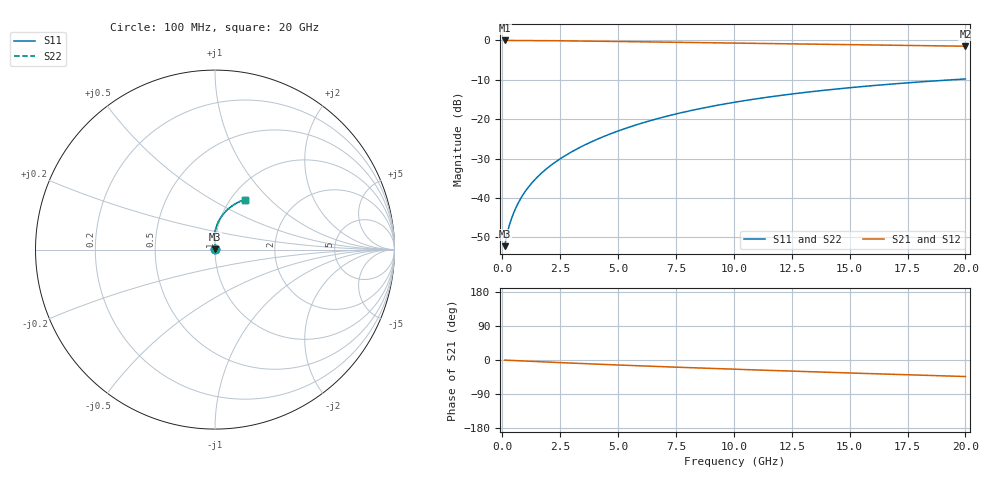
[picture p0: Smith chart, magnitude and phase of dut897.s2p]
! Touchstone file exported from HFSS 2024.1.0
!  File:  C:/UserFiles/LocalFiles/RDL_TSV_Batchsim/temp_RDL_bottom_897_1779866178.aedt
!  Generated:  03:18:48 PM May 27, 2026
!  Design:  RDL_bottom
!  Project:  temp_RDL_bottom_897_1779866178
!  Setup:  Setup1
!  Solution:  Sweep
! Variables:
!  dtsv = 10.80580581um
!  hbump = 3um
!  htsv = 54.43um
!  ldown = 670.26um
!  lrdl = 100um
!  p = 40
!  p1 = 53.12um
!  rhole = 1um
!  t = 450um
!  tdown = 4.73um
!  trdl = 3.915915916um
!  wdown = 28.78um
!  wrdl = 20um
# GHz S MA R 50.000000
! Terminal data exported
! Port[1] = RDL1_T1
! Port[2] = RDL1_T2
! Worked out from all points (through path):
!   200 points, 100 MHz to 20 GHz, reference 50 ohm
!   highest |S21| = -0.02 dB at 100 MHz (marker M1); lowest = -1.5 dB at 20 GHz (marker M2)
!   group delay of S21, straight-line fit = 5.94 ps
!   lowest |S11| = -52.3 dB at 100 MHz (marker M3), VSWR 1.00, Z = 50.2 + j0.143 ohm
!   |S11| at or under -10 dB: start of sweep to 19.43 GHz
!   |S22| runs from -52.3 to -9.8 dB; largest |S21 - S12| = 1.5e-14
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0.1  0.002439 35.8  0.998 -0.3  0.998 -0.3  0.002439 35.8
! Gamma 0 0 0 0
! Port Impedance 50 0 50 0
0.2  0.003435 51.3  0.9978 -0.6  0.9978 -0.6  0.003436 51.3
0.3  0.004454 59.6  0.9975 -0.9  0.9975 -0.9  0.004454 59.6
0.4  0.005488 65.3  0.9974 -1.1  0.9974 -1.1  0.005488 65.3
0.5  0.006549 69.5  0.9972 -1.4  0.9972 -1.4  0.006549 69.5
0.6  0.007636 72.8  0.997 -1.7  0.997 -1.7  0.007636 72.8
0.8  0.009877 77.4  0.9965 -2.3  0.9965 -2.3  0.009877 77.4
1.1  0.01337 81.9  0.9956 -3.1  0.9956 -3.1  0.01337 81.9
1.3  0.01577 84.0  0.9949 -3.6  0.9949 -3.6  0.01577 83.9
1.6  0.01947 86.3  0.9936 -4.5  0.9936 -4.5  0.01947 86.3
2.1  0.02593 88.9  0.991 -5.8  0.991 -5.8  0.02592 88.9
2.7  0.03417 90.8  0.9871 -7.4  0.9871 -7.4  0.03416 90.8
3.5  0.04604 92.1  0.9811 -9.5  0.9811 -9.5  0.04602 92.1
4.2  0.05721 92.4  0.9752 -11.3  0.9752 -11.3  0.05718 92.4
5  0.07075 92.0  0.9682 -13.2  0.9682 -13.2  0.0707 92.0
6.8  0.1033 89.4  0.9517 -17.4  0.9517 -17.4  0.1032 89.4
8.4  0.1333 86.0  0.9373 -20.9  0.9373 -20.9  0.1332 86.0
10.1  0.1652 81.9  0.9226 -24.5  0.9226 -24.5  0.165 81.9
11.7  0.1943 78.0  0.9091 -27.7  0.9091 -27.7  0.1942 78.0
13.4  0.2241 73.9  0.8951 -31.1  0.8951 -31.1  0.2239 73.9
16.7  0.2772 66.4  0.8688 -37.5  0.8688 -37.5  0.277 66.3
20  0.3239 59.3  0.8434 -43.6  0.8434 -43.6  0.3236 59.3
